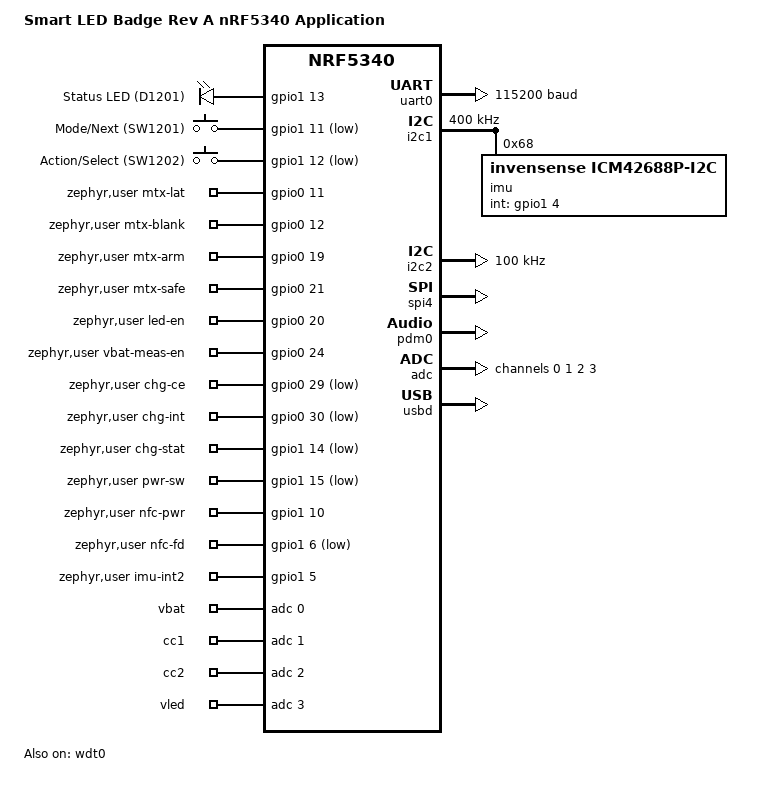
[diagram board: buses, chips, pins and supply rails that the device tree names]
/*
 * Copyright (c) 2023 Raytac Corporation
 *
 * SPDX-License-Identifier: Apache-2.0
 *
 * Smart LED Badge Rev A, application core: Raytac MDBT53-P1M (nRF5340 QKAA).
 * Pins follow the Rev A schematic; see docs/hardware.md. Modified from
 * Zephyr's raytac_mdbt53_db_40 board for this board.
 */

/dts-v1/;
#include <nordic/nrf5340_cpuapp_qkaa.dtsi>
#include <zephyr/dt-bindings/gpio/nordic-nrf-gpio.h>
#include <zephyr/dt-bindings/input/input-event-codes.h>
#include <zephyr/dt-bindings/sensor/icm42688.h>
#include "smart_led_badge_nrf5340_cpuapp-pinctrl.dtsi"

/ {
	model = "Smart LED Badge Rev A nRF5340 Application";
	compatible = "smart-led-badge,rev-a-nrf5340-cpuapp";

	chosen {
		zephyr,console = &uart0;
		zephyr,shell-uart = &uart0;
		zephyr,bt-hci = &bt_hci_ipc0;
		zephyr,sram = &sram0_image;
		zephyr,flash = &flash0;
		zephyr,code-partition = &slot0_partition;
		zephyr,sram-secure-partition = &sram0_s;
		zephyr,sram-non-secure-partition = &sram0_ns;
	};

	leds {
		compatible = "gpio-leds";

		status_led: led_0 {
			gpios = <&gpio1 13 GPIO_ACTIVE_HIGH>;
			label = "Status LED (D1201)";
		};
	};

	buttons {
		compatible = "gpio-keys";

		btn_mode: button_0 {
			gpios = <&gpio1 11 (GPIO_PULL_UP | GPIO_ACTIVE_LOW)>;
			label = "Mode/Next (SW1201)";
			zephyr,code = <INPUT_KEY_0>;
		};

		btn_action: button_1 {
			gpios = <&gpio1 12 (GPIO_PULL_UP | GPIO_ACTIVE_LOW)>;
			label = "Action/Select (SW1202)";
			zephyr,code = <INPUT_KEY_1>;
		};
	};

	/*
	 * Board signals used by project drivers. Defaults with the MCU in reset
	 * come from board resistors: MTX_BLANK high, MTX_ARM low, LED_EN low,
	 * VBAT_MEAS_EN low, CHG_CE high (charging off).
	 */
	zephyr,user {
		mtx-lat-gpios = <&gpio0 11 GPIO_ACTIVE_HIGH>;
		mtx-blank-gpios = <&gpio0 12 GPIO_ACTIVE_HIGH>;  /* high = columns blanked */
		mtx-arm-gpios = <&gpio0 19 GPIO_ACTIVE_HIGH>;    /* low clears the scan-stall one-shot */
		mtx-safe-gpios = <&gpio0 21 GPIO_ACTIVE_HIGH>;   /* input: high = matrix forced off */
		led-en-gpios = <&gpio0 20 GPIO_ACTIVE_HIGH>;     /* TPS61023 EN (LED rail) */
		vbat-meas-en-gpios = <&gpio0 24 GPIO_ACTIVE_HIGH>;
		chg-ce-gpios = <&gpio0 29 GPIO_ACTIVE_LOW>;      /* active = charging enabled */
		chg-int-gpios = <&gpio0 30 GPIO_ACTIVE_LOW>;
		chg-stat-gpios = <&gpio1 14 GPIO_ACTIVE_LOW>;
		pwr-sw-gpios = <&gpio1 15 (GPIO_ACTIVE_LOW | GPIO_PULL_UP)>; /* active = switch ON */
		nfc-pwr-gpios = <&gpio1 10 (GPIO_ACTIVE_HIGH | NRF_GPIO_DRIVE_H0H1)>;
		nfc-fd-gpios = <&gpio1 6 GPIO_ACTIVE_LOW>;
		imu-int2-gpios = <&gpio1 5 GPIO_ACTIVE_HIGH>;

		io-channels = <&adc 0>, <&adc 1>, <&adc 2>, <&adc 3>;
		io-channel-names = "vbat", "cc1", "cc2", "vled";
	};

	aliases {
		led0 = &status_led;
		sw0 = &btn_mode;
		sw1 = &btn_action;
		watchdog0 = &wdt0;
		imu0 = &imu;
	};
};

&vregmain {
	regulator-initial-mode = <NRF5X_REG_MODE_DCDC>;
};

&vregradio {
	regulator-initial-mode = <NRF5X_REG_MODE_DCDC>;
};

/* VDDH = VDD (normal-voltage mode, DCCH not connected): VREGH stays disabled. */

&lfxo {
	load-capacitors = "internal";
	load-capacitance-picofarad = <9>;  /* CM7V-T1A, CL 9 pF */
};

/* P0.02/P0.03 (NFC1/NFC2) are spare GPIO pads; native NFC is unused. */
&uicr {
	nfct-pins-as-gpios;
};

&gpiote {
	status = "okay";
};

&gpio0 {
	status = "okay";
};

&gpio1 {
	status = "okay";
};

&uart0 {
	compatible = "nordic,nrf-uarte";
	status = "okay";
	current-speed = <115200>;
	pinctrl-0 = <&uart0_default>;
	pinctrl-1 = <&uart0_sleep>;
	pinctrl-names = "default", "sleep";
};

&i2c1 {
	compatible = "nordic,nrf-twim";
	status = "okay";
	clock-frequency = <I2C_BITRATE_FAST>;
	pinctrl-0 = <&i2c1_default>;
	pinctrl-1 = <&i2c1_sleep>;
	pinctrl-names = "default", "sleep";

	imu: icm42688@68 {
		compatible = "invensense,icm42688p-i2c";
		reg = <0x68>;
		int-gpios = <&gpio1 4 GPIO_ACTIVE_HIGH>;
		accel-pwr-mode = <ICM42688_DT_ACCEL_LN>;
		accel-odr = <ICM42688_DT_ACCEL_ODR_100>;
		accel-fs = <ICM42688_DT_ACCEL_FS_2>;
		gyro-pwr-mode = <ICM42688_DT_GYRO_LN>;
		gyro-odr = <ICM42688_DT_GYRO_ODR_100>;
		gyro-fs = <ICM42688_DT_GYRO_FS_2000>;
	};

	/* BQ25620 charger at 0x6B: project driver to be added. */
};

/* NTAG (NT3H2111) at 0x55 on its own bus: project driver to be added. */
&i2c2 {
	compatible = "nordic,nrf-twim";
	status = "okay";
	clock-frequency = <I2C_BITRATE_STANDARD>;
	pinctrl-0 = <&i2c2_default>;
	pinctrl-1 = <&i2c2_sleep>;
	pinctrl-names = "default", "sleep";
};

/* Matrix chain; LAT and BLANK are GPIOs driven through GPIOTE, no chip select. */
&spi4 {
	compatible = "nordic,nrf-spim";
	status = "okay";
	pinctrl-0 = <&spi4_default>;
	pinctrl-1 = <&spi4_sleep>;
	pinctrl-names = "default", "sleep";
};

&pdm0 {
	status = "okay";
	pinctrl-0 = <&pdm0_default>;
	pinctrl-1 = <&pdm0_sleep>;
	pinctrl-names = "default", "sleep";
};

&adc {
	status = "okay";
	#address-cells = <1>;
	#size-cells = <0>;

	/* VBAT: switched 47k/47k divider, 4.2 V -> 2.1 V; gain 1/4 x 0.6 V = 2.4 V full scale. */
	channel@0 {
		reg = <0>;
		zephyr,gain = "ADC_GAIN_1_4";
		zephyr,reference = "ADC_REF_INTERNAL";
		zephyr,acquisition-time = <ADC_ACQ_TIME(ADC_ACQ_TIME_MICROSECONDS, 10)>;
		zephyr,input-positive = <NRF_SAADC_AIN0>;
		zephyr,resolution = <12>;
	};

	/* CC1/CC2: ratio 0.107 behind the pass gate; gain 2 x 0.6 V = 0.3 V full scale. */
	channel@1 {
		reg = <1>;
		zephyr,gain = "ADC_GAIN_2";
		zephyr,reference = "ADC_REF_INTERNAL";
		zephyr,acquisition-time = <ADC_ACQ_TIME(ADC_ACQ_TIME_MICROSECONDS, 10)>;
		zephyr,input-positive = <NRF_SAADC_AIN1>;
		zephyr,resolution = <12>;
	};

	channel@2 {
		reg = <2>;
		zephyr,gain = "ADC_GAIN_2";
		zephyr,reference = "ADC_REF_INTERNAL";
		zephyr,acquisition-time = <ADC_ACQ_TIME(ADC_ACQ_TIME_MICROSECONDS, 10)>;
		zephyr,input-positive = <NRF_SAADC_AIN2>;
		zephyr,resolution = <12>;
	};

	/* VLED: 200k/4.7k (0.023); gain 4 x 0.6 V = 0.15 V full scale. */
	channel@3 {
		reg = <3>;
		zephyr,gain = "ADC_GAIN_4";
		zephyr,reference = "ADC_REF_INTERNAL";
		zephyr,acquisition-time = <ADC_ACQ_TIME(ADC_ACQ_TIME_MICROSECONDS, 10)>;
		zephyr,input-positive = <NRF_SAADC_AIN4>;
		zephyr,resolution = <12>;
	};
};

&wdt0 {
	status = "okay";
};

zephyr_udc0: &usbd {
	compatible = "nordic,nrf-usbd";
	status = "okay";
};

/* Default memory partitions (no external flash on Rev A; QSPI pins are spare). */
#include <nordic/nrf5340_cpuapp_partition.dtsi>
